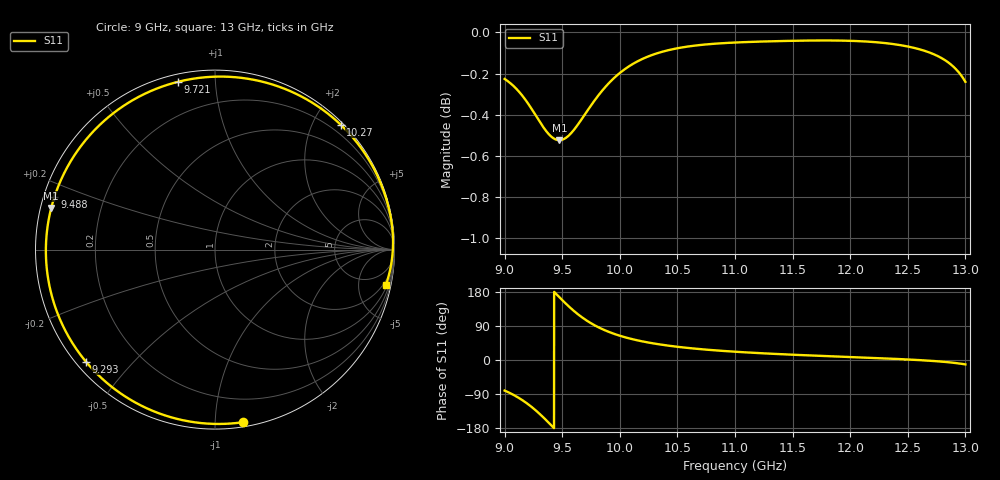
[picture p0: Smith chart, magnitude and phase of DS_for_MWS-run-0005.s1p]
! TOUCHSTONE file generated by CST DESIGN STUDIO
! Date and time: Tue Feb  4 13:51:23 2025
! Project name: C:\Work\MatlabApps\UnitCellOptimizationMatlab\CST\unitcell.cst
! Tree item: Tasks\Sweep1\SPara1\S-Parameters
! Header version: 2024
! Port assignment regex: !\s*Touchstone port\s*([0-9]+)\s*=\s*(CST MWS port|CST DES external port|CST DES block port)\s*(.+)\s* \(\"(.*)\"\)(\s*mode\s*([0-9]+))?.*
! Touchstone port assignment:
! Touchstone port 1 = CST DES external port 1 ("")
# GHz S MA R 50
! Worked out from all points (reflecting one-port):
!   4001 points, 9 GHz to 13 GHz, reference 50 ohm
!   lowest |S11| = -0.5 dB at 9.475 GHz (marker M1), VSWR 33.18, Z = 1.53 + j6.23 ohm
!   phase of S11 starts at -81 deg and turns -291 deg over the sweep
!   S11 on the Smith chart (normalised r, x): 9 GHz: 0.03, -1.18; 9.293 GHz: 0.03, -0.37; 9.488 GHz: 0.03, +0.16; 9.721 GHz: 0.04, +0.80; 10.27 GHz: 0.04, +2.42; 13 GHz: 1.32, -9.64
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9  0.9743 -80.7
9.092  0.9696 -94.5
9.165  0.9643 -108.2
9.231  0.9585 -123.0
9.293  0.9524 -139.1
9.344  0.9477 -153.7
9.389  0.9443 -167.4
9.432  0.9422 179.2
9.475  0.9415 165.8
9.488  0.9416 161.8
9.5  0.9417 158.1
9.555  0.9438 142.0
9.608  0.9474 127.8
9.662  0.952 114.8
9.721  0.9574 102.4
9.783  0.9628 91.3
9.857  0.9687 80.3
10  0.9776 64.0
10.125  0.983 53.8
10.27  0.9872 44.9
10.5  0.9912 34.9
10.722  0.9932 28.1
11  0.9944 21.8
11.5  0.9953 14.0
12  0.9953 7.8
12.5  0.9922 1.4
12.791  0.9858 -4.2
13  0.9727 -11.6
